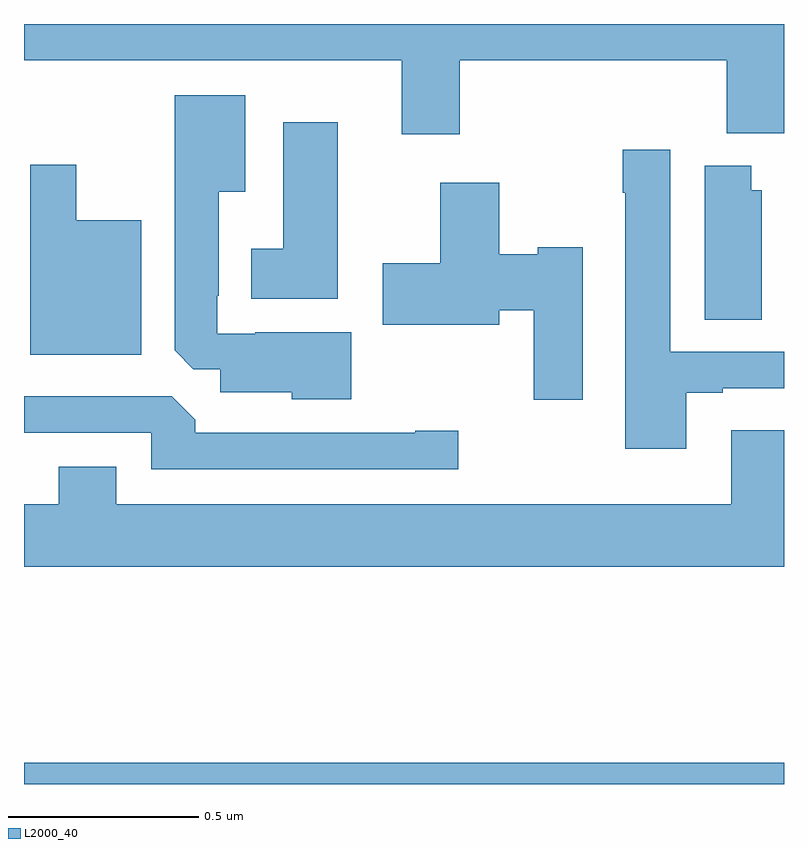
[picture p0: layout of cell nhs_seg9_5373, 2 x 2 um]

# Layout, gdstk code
import gdstk
lib = gdstk.Library(unit=1e-6, precision=1e-09)
def R(c, l, rs):  # rectangles x0, y0, x1, y1
    for r in rs: c.add(gdstk.rectangle(r[:2], r[2:], *l))
def P(c, l, *ps):  # polygons
    for p in ps: c.add(gdstk.Polygon(p, *l))
L2000_40 = (2000, 40)

nhs_seg9_5373 = lib.new_cell('nhs_seg9_5373')
R(nhs_seg9_5373, L2000_40, [(178,1210.5,180,1210.556)])
P(nhs_seg9_5373, L2000_40, [(179.147,1212.404),(179.849,1212.404),(179.849,1212.212),(180,1212.212),(180,1212.5),(178,1212.5),(178,1212.404),(178.994,1212.404),(178.994,1212.21),(179.147,1212.21)],
  [(178.861,1211.689),(178.609,1211.689),(178.609,1211.685),(178.509,1211.685),(178.509,1211.785),(178.513,1211.785),(178.513,1212.059),(178.582,1212.059),(178.582,1212.313),(178.397,1212.313),(178.397,1211.641),(178.446,1211.592),(178.517,1211.592),(178.517,1211.531),(178.704,1211.531),(178.704,1211.513),(178.861,1211.513)],
  [(178.825,1212.241),(178.682,1212.241),(178.682,1211.908),(178.598,1211.908),(178.598,1211.777),(178.825,1211.777)],
  [(179.743,1211.529),(179.839,1211.529),(179.839,1211.541),(180,1211.541),(180,1211.637),(179.701,1211.637),(179.701,1212.169),(179.575,1212.169),(179.575,1212.056),(179.582,1212.056),(179.582,1211.382),(179.743,1211.382)],
  [(178.309,1211.983),(178.138,1211.983),(178.138,1212.13),(178.016,1212.13),(178.016,1211.63),(178.309,1211.63)],
  [(179.941,1212.063),(179.914,1212.063),(179.914,1212.127),(179.792,1212.127),(179.792,1211.722),(179.941,1211.722)],
  [(179.47,1211.912),(179.352,1211.912),(179.352,1211.894),(179.251,1211.894),(179.251,1212.082),(179.096,1212.082),(179.096,1211.871),(178.944,1211.871),(178.944,1211.708),(179.251,1211.708),(179.251,1211.747),(179.341,1211.747),(179.341,1211.511),(179.47,1211.511)],
  [(179.143,1211.429),(179.03,1211.429),(179.03,1211.424),(178.451,1211.424),(178.451,1211.458),(178.389,1211.52),(178,1211.52),(178,1211.424),(178.335,1211.424),(178.335,1211.328),(179.143,1211.328)],
  [(180,1211.431),(179.861,1211.431),(179.861,1211.236),(178.243,1211.236),(178.243,1211.335),(178.091,1211.335),(178.091,1211.236),(178,1211.236),(178,1211.072),(180,1211.072)])

lib.write_gds('nhs_seg9_5373.gds')
